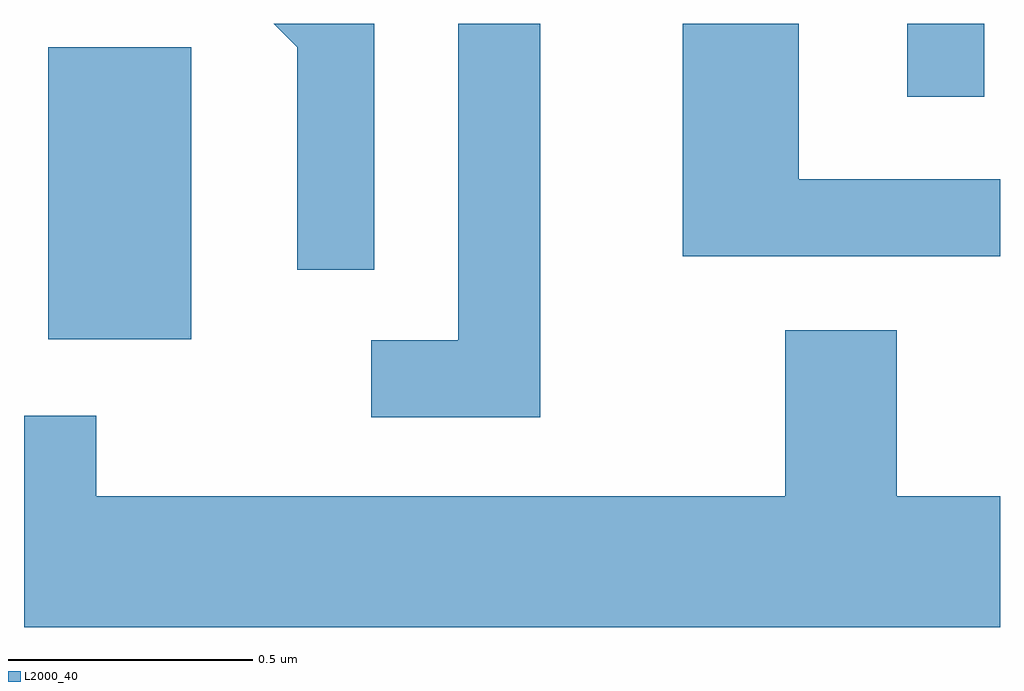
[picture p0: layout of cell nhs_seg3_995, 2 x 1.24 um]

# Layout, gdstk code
import gdstk
lib = gdstk.Library(unit=1e-6, precision=1e-09)
def R(c, l, rs):  # rectangles x0, y0, x1, y1
    for r in rs: c.add(gdstk.rectangle(r[:2], r[2:], *l))
def P(c, l, *ps):  # polygons
    for p in ps: c.add(gdstk.Polygon(p, *l))
L2000_40 = (2000, 40)

nhs_seg3_995 = lib.new_cell('nhs_seg3_995')
R(nhs_seg3_995, L2000_40, [(192.661,1153.246,192.954,1153.844), (194.421,1153.743,194.579,1153.892)])
P(nhs_seg3_995, L2000_40, [(193.329,1153.892),(193.123,1153.892),(193.171,1153.844),(193.171,1153.388),(193.329,1153.388)],
  [(194.611,1153.574),(194.199,1153.574),(194.199,1153.892),(193.961,1153.892),(193.961,1153.416),(194.611,1153.416)],
  [(193.669,1153.892),(193.501,1153.892),(193.501,1153.244),(193.323,1153.244),(193.323,1153.086),(193.669,1153.086)],
  [(194.611,1152.924),(194.399,1152.924),(194.399,1153.264),(194.171,1153.264),(194.171,1152.924),(192.759,1152.924),(192.759,1153.089),(192.611,1153.089),(192.611,1152.656),(194.611,1152.656)])

lib.write_gds('nhs_seg3_995.gds')
